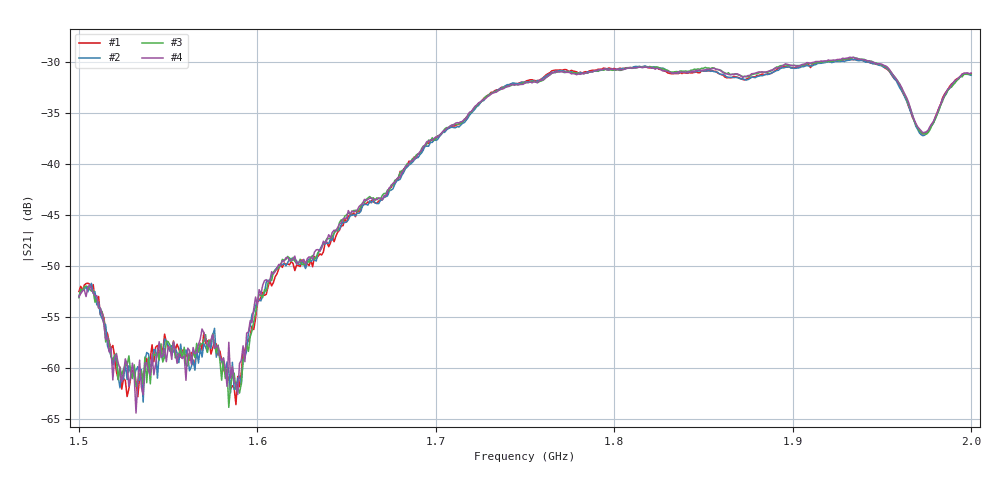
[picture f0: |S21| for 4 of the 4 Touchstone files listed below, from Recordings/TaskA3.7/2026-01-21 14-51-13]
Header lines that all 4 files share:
! NanoVNA-App by SYSJOINT et al v1.1.209 (+OD18)
! Start: 1,5GHz Stop: 2GHz Points: 501
! S-Parameter data: F S11 S21 S12 S22
# Hz S RI R 50
!  Frequency  S11_Real  S11_Imag  S21_Real  S21_Imag  S12_Real  S12_Imag  S22_Real  S22_Imag
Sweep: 1.5 GHz to 2 GHz
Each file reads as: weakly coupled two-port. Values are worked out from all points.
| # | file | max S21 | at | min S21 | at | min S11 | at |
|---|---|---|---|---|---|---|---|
| 1 | 0.s2p | -29.67 dB | 1.932 GHz | -63.6 dB | 1.588 GHz | -30.3 dB | 1.817 GHz |
| 2 | 1.s2p | -29.72 dB | 1.933 GHz | -63.3 dB | 1.536 GHz | -30.5 dB | 1.817 GHz |
| 3 | 2.s2p | -29.51 dB | 1.934 GHz | -63.9 dB | 1.584 GHz | -30.5 dB | 1.817 GHz |
| 4 | 3.s2p | -29.50 dB | 1.932 GHz | -64.4 dB | 1.532 GHz | -31.2 dB | 1.817 GHz |
